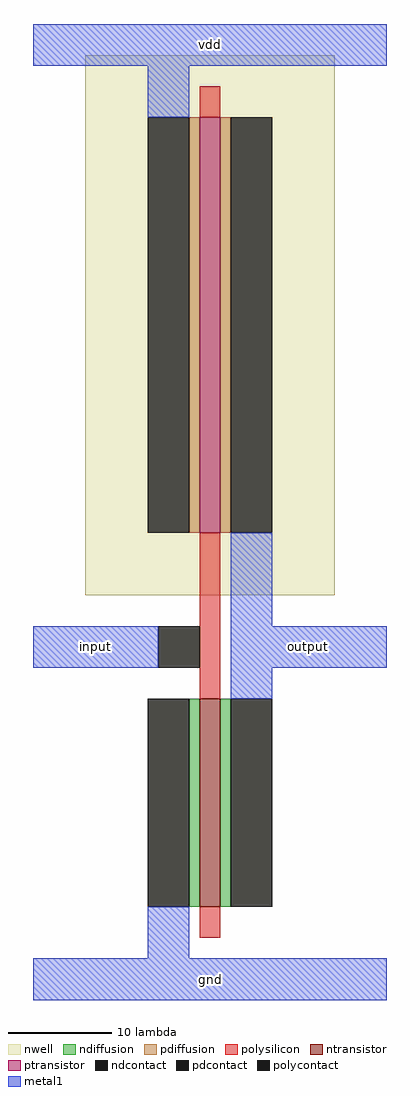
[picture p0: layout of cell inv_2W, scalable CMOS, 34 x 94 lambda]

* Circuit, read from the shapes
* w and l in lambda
.subckt inv_2W gnd input output vdd
M1 output input gnd VSUBS nfet w=20 l=2
M2 output input vdd n1 pfet w=40 l=2
.ends

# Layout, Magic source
magic
tech scmos
<< nwell >>
rect -16 -6 8 46
<< ntransistor >>
rect -5 -36 -3 -16
<< ptransistor >>
rect -5 0 -3 40
<< ndiffusion >>
rect -6 -36 -5 -16
rect -3 -36 -2 -16
<< pdiffusion >>
rect -6 0 -5 40
rect -3 0 -2 40
<< ndcontact >>
rect -10 -36 -6 -16
rect -2 -36 2 -16
<< pdcontact >>
rect -10 0 -6 40
rect -2 0 2 40
<< polysilicon >>
rect -5 40 -3 43
rect -5 -16 -3 0
rect -5 -39 -3 -36
<< polycontact >>
rect -9 -13 -5 -9
<< metal1 >>
rect -21 45 13 49
rect -10 40 -6 45
rect -2 -9 2 0
rect -21 -13 -9 -9
rect -2 -13 13 -9
rect -2 -16 2 -13
rect -10 -41 -6 -36
rect -21 -45 13 -41
<< labels >>
rlabel metal1 -21 45 13 49 5 vdd
rlabel metal1 -21 -45 13 -41 1 gnd
rlabel metal1 -21 -13 -9 -9 1 input
rlabel metal1 -2 -13 13 -9 1 output
<< end >>
